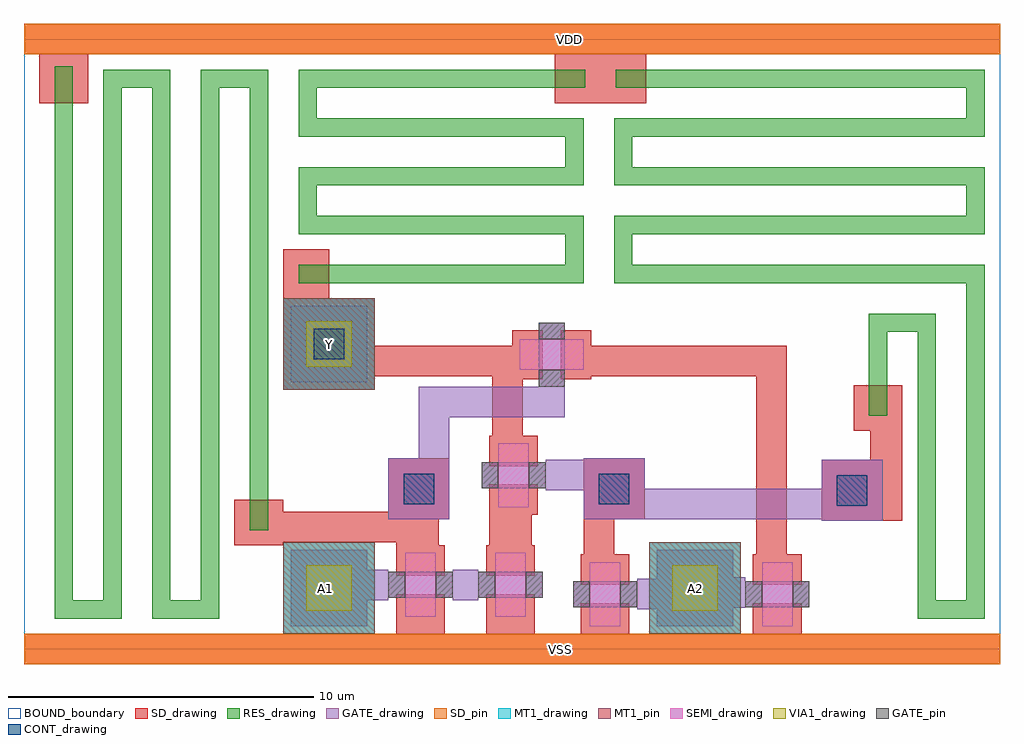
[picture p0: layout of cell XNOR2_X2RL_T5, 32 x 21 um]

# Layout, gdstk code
from math import pi, radians
import gdstk
lib = gdstk.Library(unit=1e-6, precision=1e-09)
def R(c, l, rs):  # rectangles x0, y0, x1, y1
    for r in rs: c.add(gdstk.rectangle(r[:2], r[2:], *l))
def P(c, l, *ps):  # polygons
    for p in ps: c.add(gdstk.Polygon(p, *l))
RES_drawing = (1, 0)
SEMI_drawing = (3, 0)
SD_drawing = (10, 0)
SD_pin = (10, 3)
GATE_drawing = (11, 0)
GATE_pin = (11, 3)
MT1_drawing = (20, 0)
MT1_pin = (20, 3)
CONT_drawing = (30, 0)
VIA1_drawing = (41, 0)
BOUND_boundary = (150, 5)

nch_cdns_772545175050 = lib.new_cell('nch_CDNS_772545175050')
R(nch_cdns_772545175050, SEMI_drawing, [(-1.05,-0.5,1.05,0.5)])
R(nch_cdns_772545175050, SD_drawing, [(-1.3,-0.8,-0.3,0.8), (0.3,-0.8,1.3,0.8)])
R(nch_cdns_772545175050, GATE_drawing, [(-0.425,-1.05,0.425,1.05)])
R(nch_cdns_772545175050, GATE_pin, [(-0.425,-1.05,0.425,-0.5), (-0.425,0.5,0.425,1.05)])

gate_mt1_cdns_7725451750 = lib.new_cell('GATE_MT1_CDNS_772545175050')
R(gate_mt1_cdns_7725451750, GATE_drawing, [(-1.25,-1.25,1.25,1.25)])
R(gate_mt1_cdns_7725451750, MT1_drawing, [(-1.25,-1.25,1.25,1.25)])
R(gate_mt1_cdns_7725451750, VIA1_drawing, [(-0.75,-0.75,0.75,0.75)])

sd_gate_cdns_77254517505 = lib.new_cell('SD_GATE_CDNS_772545175051')
R(sd_gate_cdns_77254517505, SD_drawing, [(-1,-1,1,1)])
R(sd_gate_cdns_77254517505, GATE_drawing, [(-1,-1,1,1)])
R(sd_gate_cdns_77254517505, CONT_drawing, [(-0.5,-0.5,0.5,0.5)])

xnor2_x2rl_t5 = lib.new_cell('XNOR2_X2RL_T5')
R(xnor2_x2rl_t5, SD_drawing, [(27.75,4.2,28.8,7.15), (27.2,7.15,28.8,8.65), (8.5,8.5,11.5,11.5), (8.5,11.5,10,13.1), (8.5,11.5,10,13.1), (0.5,17.9,2.1,19.5), (17.4,17.9,18.9,19.5), (18.9,17.9,20.4,19.5)])
R(xnor2_x2rl_t5, SD_pin, [(0,-0.5,32,0.5), (0,19.5,32,20.5)])
P(xnor2_x2rl_t5, GATE_drawing, [(16.825,8.5),(17.725,8.5),(17.725,8.65),(16.975,8.65),(16.975,8.6),(16.825,8.6)],
  [(17.2,5.2),(17.2,6.2),(17.1,6.2),(17.1,6.075),(17.05,6.075),(17.05,5.325),(17.1,5.325),(17.1,5.2)],
  [(23.55,2.35),(23.55,1.35),(23.65,1.35),(23.65,1.425),(23.7,1.425),(23.7,2.175),(23.65,2.175),(23.65,2.35)],
  [(11.85,2.6),(11.85,1.6),(11.95,1.6),(11.95,1.725),(12,1.725),(12,2.475),(11.95,2.475),(11.95,2.6)],
  [(20.2,2.3),(20.2,1.3),(20.1,1.3),(20.1,1.425),(20.05,1.425),(20.05,2.175),(20.1,2.175),(20.1,2.3)])
R(xnor2_x2rl_t5, MT1_drawing, [(8.5,0.5,11.5,3.5), (8.5,0.5,11.5,3.5), (20.5,0.5,23.5,3.5), (8.5,8.5,11.5,11.5)])
R(xnor2_x2rl_t5, MT1_pin, [(8.5,0.5,11.5,3.5), (20.5,0.5,23.5,3.5), (8.5,8.5,11.5,11.5)])
R(xnor2_x2rl_t5, BOUND_boundary, [(0,0,32,20)])
xnor2_x2rl_t5.add(gdstk.FlexPath([(18.6,9.45),(24.5,9.45)], 1, ends=(0, 0.5), simple_path=True, layer=10, datatype=0))  # SD_drawing
xnor2_x2rl_t5.add(gdstk.FlexPath([(11.5,9.45),(16,9.45)], 1, ends="flush", simple_path=True, layer=10, datatype=0))  # SD_drawing
xnor2_x2rl_t5.add(gdstk.FlexPath([(24.5,9.45),(24.5,3.1)], 1, ends=(0.5, 0), simple_path=True, layer=10, datatype=0))  # SD_drawing
xnor2_x2rl_t5.add(gdstk.FlexPath([(13,0),(32,0)], 1, ends=(0.8, 0), simple_path=True, layer=10, datatype=0))  # SD_drawing
xnor2_x2rl_t5.add(gdstk.FlexPath([(8.5,4),(12.25,4)], 1, ends="flush", simple_path=True, layer=10, datatype=0))  # SD_drawing
xnor2_x2rl_t5.add(gdstk.FlexPath([(6.9,4.15),(8.5,4.15)], 1.5, ends="flush", simple_path=True, layer=10, datatype=0))  # SD_drawing
xnor2_x2rl_t5.add(gdstk.FlexPath([(15.95,3.4),(15.95,4.4)], 1.4, ends="flush", simple_path=True, layer=10, datatype=0))  # SD_drawing
xnor2_x2rl_t5.add(gdstk.FlexPath([(12.9,3.4),(12.9,4.4)], 1.4, ends="flush", simple_path=True, layer=10, datatype=0))  # SD_drawing
xnor2_x2rl_t5.add(gdstk.FlexPath([(18.85,4.6),(18.85,3.1)], 1, ends="flush", simple_path=True, layer=10, datatype=0))  # SD_drawing
xnor2_x2rl_t5.add(gdstk.FlexPath([(15.95,0.8),(15.95,0)], 1.6, ends="flush", simple_path=True, layer=10, datatype=0))  # SD_drawing
xnor2_x2rl_t5.add(gdstk.FlexPath([(13,0.8),(13,0)], 1.6, ends=(0, 0.5), simple_path=True, layer=10, datatype=0))  # SD_drawing
xnor2_x2rl_t5.add(gdstk.FlexPath([(15.85,8.95),(15.85,7)], 1, ends="flush", simple_path=True, layer=10, datatype=0))  # SD_drawing
xnor2_x2rl_t5.add(gdstk.FlexPath([(0,20),(32,20)], 1, ends="flush", simple_path=True, layer=10, datatype=0))  # SD_drawing
xnor2_x2rl_t5.add(gdstk.FlexPath([(0,0),(13,0)], 1, ends=(0, 0.8), simple_path=True, layer=10, datatype=0))  # SD_drawing
xnor2_x2rl_t5.add(gdstk.FlexPath([(20.35,4.75),(28.15,4.75)], 1, ends="flush", simple_path=True, layer=11, datatype=0))  # GATE_drawing
xnor2_x2rl_t5.add(gdstk.FlexPath([(17.725,8.1),(13.45,8.1)], 1, ends=(0, 0.5), simple_path=True, layer=11, datatype=0))  # GATE_drawing
xnor2_x2rl_t5.add(gdstk.FlexPath([(13.45,8.1),(13.45,6)], 1, ends=(0.5, 0), simple_path=True, layer=11, datatype=0))  # GATE_drawing
xnor2_x2rl_t5.add(gdstk.FlexPath([(17.2,5.7),(19.85,5.7)], 1, ends="flush", simple_path=True, layer=11, datatype=0))  # GATE_drawing
xnor2_x2rl_t5.add(gdstk.FlexPath([(14.05,2.1),(14.9,2.1)], 1, ends="flush", simple_path=True, layer=11, datatype=0))  # GATE_drawing
xnor2_x2rl_t5.add(gdstk.FlexPath([(11.85,2.1),(11.7,2.1)], 1, ends=(0, 0.5), simple_path=True, layer=11, datatype=0))  # GATE_drawing
xnor2_x2rl_t5.add(gdstk.FlexPath([(23.25,1.85),(23.55,1.85)], 1, ends="flush", simple_path=True, layer=11, datatype=0))  # GATE_drawing
xnor2_x2rl_t5.add(gdstk.FlexPath([(20.2,1.8),(20.55,1.8)], 1, ends=(0, 0.5), simple_path=True, layer=11, datatype=0))  # GATE_drawing
xnor2_x2rl_t5.add(gdstk.FlexPath([(1.3,19.1),(1.3,1.3),(2.9,1.3),(2.9,18.7),(4.5,18.7),(4.5,1.3),(6.1,1.3),(6.1,18.7),(7.7,18.7),(7.7,3.9)], 0.6, ends="flush", simple_path=True, layer=1, datatype=0))  # RES_drawing
xnor2_x2rl_t5.add(gdstk.FlexPath([(18.4,18.7),(9.3,18.7),(9.3,17.1),(18.05,17.1),(18.05,15.5),(9.3,15.5),(9.3,13.9),(18.05,13.9),(18.05,12.3),(9.3,12.3)], 0.6, ends=(0, 0.3), simple_path=True, layer=1, datatype=0))  # RES_drawing
xnor2_x2rl_t5.add(gdstk.FlexPath([(28,7.65),(28,10.7),(29.6,10.7),(29.6,1.3),(31.2,1.3),(31.2,12.3),(19.65,12.3),(19.65,13.9),(31.2,13.9),(31.2,15.5),(19.65,15.5),(19.65,17.1),(31.2,17.1),(31.2,18.7),(19.4,18.7)], 0.6, ends="flush", simple_path=True, layer=1, datatype=0))  # RES_drawing
xnor2_x2rl_t5.add(gdstk.Reference(nch_cdns_772545175050, (19.05,1.8), rotation=pi/2))
xnor2_x2rl_t5.add(gdstk.Reference(nch_cdns_772545175050, (13,2.1), rotation=pi/2))
xnor2_x2rl_t5.add(gdstk.Reference(nch_cdns_772545175050, (15.95,2.1), rotation=pi/2))
xnor2_x2rl_t5.add(gdstk.Reference(nch_cdns_772545175050, (24.7,1.8), rotation=pi/2))
xnor2_x2rl_t5.add(gdstk.Reference(nch_cdns_772545175050, (17.3,9.65), rotation=pi))
xnor2_x2rl_t5.add(gdstk.Reference(nch_cdns_772545175050, (16.05,5.7), rotation=3*pi/2))
xnor2_x2rl_t5.add(gdstk.Reference(gate_mt1_cdns_7725451750, (10,10), rotation=pi, x_reflection=True))
xnor2_x2rl_t5.add(gdstk.Reference(gate_mt1_cdns_7725451750, (10,10)))
xnor2_x2rl_t5.add(gdstk.Reference(gate_mt1_cdns_7725451750, (10,2), rotation=pi, x_reflection=True))
xnor2_x2rl_t5.add(gdstk.Reference(gate_mt1_cdns_7725451750, (22,2), rotation=pi, x_reflection=True))
xnor2_x2rl_t5.add(gdstk.Reference(sd_gate_cdns_77254517505, (27.15,5.2)))
xnor2_x2rl_t5.add(gdstk.Reference(sd_gate_cdns_77254517505, (19.35,5.25)))
xnor2_x2rl_t5.add(gdstk.Reference(sd_gate_cdns_77254517505, (12.95,5.25)))
xnor2_x2rl_t5.add(gdstk.Reference(sd_gate_cdns_77254517505, (10,10)))
xnor2_x2rl_t5.add(gdstk.Label('A1', (9.9,2), layer=20, texttype=3))
xnor2_x2rl_t5.add(gdstk.Label('A2', (22,2), layer=20, texttype=3))
xnor2_x2rl_t5.add(gdstk.Label('A1', (9.9,2), layer=20, texttype=3))
xnor2_x2rl_t5.add(gdstk.Label('Y', (10,10), layer=20, texttype=3))
xnor2_x2rl_t5.add(gdstk.Label('VSS', (17.6,0), layer=10, texttype=3))
xnor2_x2rl_t5.add(gdstk.Label('VDD', (17.9,20), layer=10, texttype=3))

lib.write_gds('XNOR2_X2RL_T5.gds')
